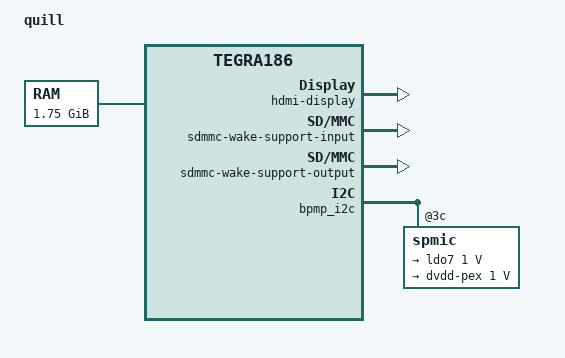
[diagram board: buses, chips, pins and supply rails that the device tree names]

#include <t18x-common-platforms/tegra186-quill-common-p3310-1000-a00.dtsi>
//#include <t18x-common-platforms/tegra186-quill-power-tree-p3310-1000-a00-00.dtsi>
#include <t18x-common-platforms/tegra186-tx2-cti-power-tree.dtsi>
//#include <t18x-common-platforms/tegra186-quill-camera-modules.dtsi>
#include <t18x-common-modules/tegra186-display-e3320-1000-a00.dtsi>


/* comms dtsi file should be included after gpio dtsi file */
#include <t18x-common-platforms/tegra186-quill-comms.dtsi>
#include <t18x-common-plugin-manager/tegra186-tx2-cti-plugin-manager.dtsi>
//#include <t18x-common-modules/tegra186-super-module-e2614-p2597-1000-a00.dtsi>
#include <t18x-common-plugin-manager/tegra186-quill-display-plugin-manager.dtsi>
#include <t18x-common-prod/tegra186-priv-quill-p3310-1000-a00-prod.dtsi>
//#include <t18x-common-plugin-manager/tegra186-quill-camera-plugin-manager.dtsi>
#include "cti_common/tegra186-tx2-cti-usb-pcie-base.dtsi"

/ {
    model = "quill";
	compatible = "nvidia,quill", "nvidia,p2597-0000+p3310-1000", "nvidia,tegra186";
    nvidia,boardids = "3310:0000:C03";
    nvidia,proc-boardid = "3310:0000:C03";

	nvidia,dtsfilename = __FILE__;
	nvidia,dtbbuildtime = __DATE__, __TIME__;
	nvidia,fastboot-usb-vid = <0x0955>;
	nvidia,fastboot-usb-pid = <0xee16>;

    chosen {
        board-has-eeprom;
        bootargs ="console=ttyS0,115200 androidboot.presilicon=true firmware_class.path=/etc/firmware";
        stdout-path = &uarta;
		nvidia,tegra-joint_xpu_rail;
    };

    firmware {
        android {
            compatible = "android,firmware";
            hardware = "quill";
            vbmeta {
                compatible = "android,vbmeta";
                parts = "vbmeta,kernel,kernel-dtb,kernel-dtbo,APP,vendor,SOS";
            };
            fstab {
                compatible = "android,fstab";
                vendor {
                    compatible = "android,vendor";
                    dev = "/dev/block/platform/3460000.sdhci/by-name/vendor";
                    type = "ext4";
                    mnt_flags = "ro";
                    fsmgr_flags = "wait,avb";
                };
                odm {
                    compatible = "android,odm";
                    dev = "/dev/block/platform/3460000.sdhci/by-name/odm";
                    type = "ext4";
                    mnt_flags = "ro";
                    fsmgr_flags = "wait,avb";
                };
            };
        };
    };

    memory@80000000 {
        device_type = "memory";
        reg = <0x0 0x80000000 0x0 0x70000000>;
    };

//every mainline character seems to share the same pins for fan and tach
   pwm_fan_shared_data: pfsd
   {
        tach_gpio = <&tegra_main_gpio TEGRA_MAIN_GPIO(X, 4) GPIO_ACTIVE_LOW>;
   };


    i2c@3160000 {

        gpio@74{
            status = "disabled";
            /delete-node/ touch-rails;

        };
        gpio@77{
            status = "disabled";
            /delete-node/ lcd-bias-rails;

        };

        lp8557-backlight-s-wuxga-8-0@2c {
            status = "disabled";
        };
    };

    i2c@c240000 {
        clock-frequency = <400000>;
    };
	
	spi@3240000 {
		status = "disabled";
	};
	
	cpufreq@e070000 {
		cpu_emc_map =
			< 499200  204000>,
			< 652800  408000>,
			<1420800  665600>,
			<1920000 1866000>;
	};

    cpus {
        status = "disabled";
    };
    host1x {
        sor {
            status = "disabled";
            dp-display {
                status = "disabled";
            };
            hdmi-display {
                status = "disabled";
            };

            panel-s-edp-uhdtv-15-6 {
                smartdimmer {
                    status = "disabled";
                };
            };
        };

        dpaux@155c0000 {
            status = "disabled";
        };

        sor1 {
            status = "okay";
            nvidia,active-panel = <&sor1_hdmi_display>;
            hdmi-display {
                status = "okay";
            };
            dp-display {
                status = "disabled";
            };
        };

        nvdisplay@15200000 {
            status = "disabled";
        };

        nvdisplay@15220000 {
            status = "disabled";
        };
    };


	pinmux@2430000 {
		common {
			gpio_edp2_pp5 {
				status = "okay";
			};

			gpio_edp3_pp6 {
				status = "okay";
			};
		};
	};

	gpio@2200000 {
		sdmmc-wake-support-input {
			status = "okay";
		};

		sdmmc-wake-support-output {
			status = "okay";
		};
	};


	sdhci@3400000 {
		cd-gpios = <&tegra_main_gpio TEGRA_MAIN_GPIO(P, 5) 0>;
		nvidia,cd-wakeup-capable;
	};

/*	i2c@3160000 {
        /delete-node/ ina3221x@40;
		/delete-node/ ina3221x@41;

	};*/

	i2c@c240000 {
		bmi160@69 {
			compatible = "bmi,bmi160";
			reg = <0x69>;
			interrupt-parent = <&tegra_aon_gpio>;
			interrupts = <TEGRA_AON_GPIO(AA, 2) 0x01>;
			accelerometer_matrix    = [01 00 00 00 01 00 00 00 01];
			gyroscope_matrix        = [01 00 00 00 01 00 00 00 01];
			accelerometer_delay_us_min = <1250>;
			gyroscope_delay_us_min = <1250>;
			vdd-supply = <&spmic_sd3>;
			vdd_IO-supply = <&spmic_sd3>;
			status = "disabled";
		};
	};

	mttcan@c310000 {
		status = "disabled";
		gpio_can_stb = <&tegra_aon_gpio TEGRA_AON_GPIO(AA, 0) GPIO_ACTIVE_HIGH>;
		gpio_can_en = <&tegra_aon_gpio TEGRA_AON_GPIO(AA, 1) GPIO_ACTIVE_HIGH>;
	};

	mttcan@c320000 {
		status = "disabled";
		gpio_can_stb = <&tegra_aon_gpio TEGRA_AON_GPIO(AA, 6) GPIO_ACTIVE_HIGH>;
		gpio_can_en = <&tegra_aon_gpio TEGRA_AON_GPIO(AA, 7) GPIO_ACTIVE_HIGH>;
	};

	ahci-sata@3507000 {
		gpios = <&spmic 7 0>;
	};


    bluedroid_pm {
        bluedroid_pm,reset-gpio = <&tegra_main_gpio TEGRA_MAIN_GPIO(H, 5) 0>;
    };

	fixed-regulators {
		regulator@1 {
			gpio = <&tegra_main_gpio TEGRA_MAIN_GPIO(P, 6) 0>;
        };
        regulator@2 {
            regulator-always-on;
            /delete-property/ gpio;
            /delete-property/ enable-active-high;
        };
        regulator@3 {
            regulator-always-on;
            /delete-property/ gpio;
        };
        regulator@6 {
            regulator-always-on;
            /delete-property/ gpio;
        };
        regulator@7 {
            regulator-always-on;
            /delete-property/ gpio;
        };
        regulator@8 {
            regulator-always-on;
            /delete-property/ gpio;
        };
        regulator@9 {
            regulator-always-on;
            /delete-property/ gpio;
        };
        regulator@10 {
            regulator-always-on;
            /delete-property/ gpio;
        };
        regulator@11 {
            regulator-always-on;
            /delete-property/ gpio;
        };
        regulator@12 {
            regulator-always-on;
            /delete-property/ gpio;
        };
        regulator@13 { //fixes PWM fan
            regulator-always-on;
            /delete-property/ gpio;
        };
        regulator@15 {
            regulator-always-on;
            /delete-property/ gpio;
        };
        regulator@17 {
            regulator-always-on;
            /delete-property/ gpio;
        };
        regulator@118 {
            regulator-always-on;
            /delete-property/ gpio;
        };
	};

	bpmp_i2c {
		spmic@3c {
			pinmux@0 {
				pin_gpio2 {
					status = "disabled";
				};
				pin_gpio3 {
					status = "disabled";
				};
				pin_gpio7 {
					drive-push-pull = <1>;
				};
			};

			regulators {
				ldo0 {
					maxim,active-fps-source = <MAX77620_FPS_SRC_NONE>;
				};

				ldo6 {
					maxim,active-fps-source = <MAX77620_FPS_SRC_NONE>;
					regulator-boot-on;
					regulator-always-on;
				};

				ldo7 {
					regulator-min-microvolt = <1000000>;
					regulator-max-microvolt = <1000000>;
				};

				ldo8 {
					regulator-name = "dvdd-pex";
					regulator-min-microvolt = <1000000>;
					regulator-max-microvolt = <1000000>;
				};
			};
		};
	};
    can_clock: can_clock{
        compatible = "fixed-clock";
        #clock-cells = <0>;
        clock-frequency = <20000000>;
        clock-accuracy = <100>;
    };
	
	tegra_udrm: tegra_udrm {
		compatible = "nvidia,tegra-udrm";
	};

	soctherm-oc-event {
		status = "okay";
	};

};

#if LINUX_VERSION >= 414
#include <tegra186-linux-4.14.dtsi>
#endif
                   
